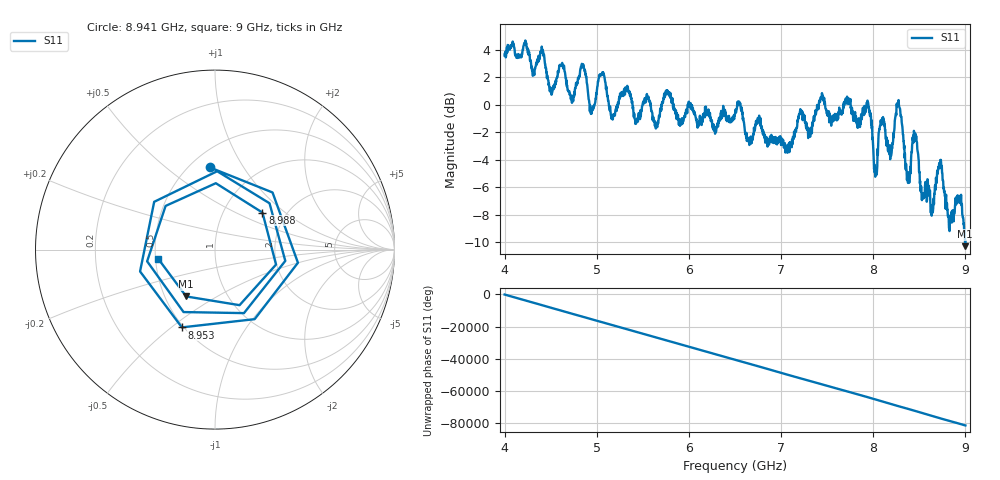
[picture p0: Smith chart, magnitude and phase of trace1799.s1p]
! Created with skrf 1.8.0 (http://scikit-rf.org).
# Hz S RI R 50.0
!freq ReS11 ImS11
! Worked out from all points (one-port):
!   1601 points, 4 GHz to 9 GHz, reference 50 ohm
!   lowest |S11| = -10.3 dB at 8.997 GHz (marker M1), VSWR 1.88, Z = 32 - j18.4 ohm
!   |S11| at or under -10 dB: 8.996046 GHz to 8.99918 GHz (3.133 MHz wide, 0.0348 % of centre)
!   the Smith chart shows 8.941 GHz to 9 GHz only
!   S11 on the Smith chart (normalised r, x): 8.941 GHz: 0.62, +0.72; 8.953 GHz: 0.49, -0.54; 8.988 GHz: 1.52, +0.71; 9 GHz: 0.52, -0.06
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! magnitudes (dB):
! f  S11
! 4 GHz  3.6
! 4.625 GHz  3.1
! 4.731 GHz  0.1
! 4.853 GHz  2.9
! 4.947 GHz  -0.4
! 5.05 GHz  2.2
! 5.172 GHz  -1.1
! 5.25 GHz  0.5
! 5.875 GHz  -0.8
! 6.5 GHz  -0.6
! 7.125 GHz  -2.9
! 7.75 GHz  0.2
! 7.95 GHz  -0.2
! 8.025 GHz  -4.7
! 8.084 GHz  -1.3
! 8.184 GHz  -4.0
! 8.278 GHz  0.0
! 8.375 GHz  -5.5
! 8.45 GHz  -2.2
! 8.534 GHz  -6.7
! 8.644 GHz  -7.8
! 8.725 GHz  -4.3
! 8.828 GHz  -9.2
! 8.941 GHz  -6.8
! 8.953 GHz  -6.5
! 8.988 GHz  -9.5
! 8.997 GHz  -10.3
! 9 GHz  -9.9
